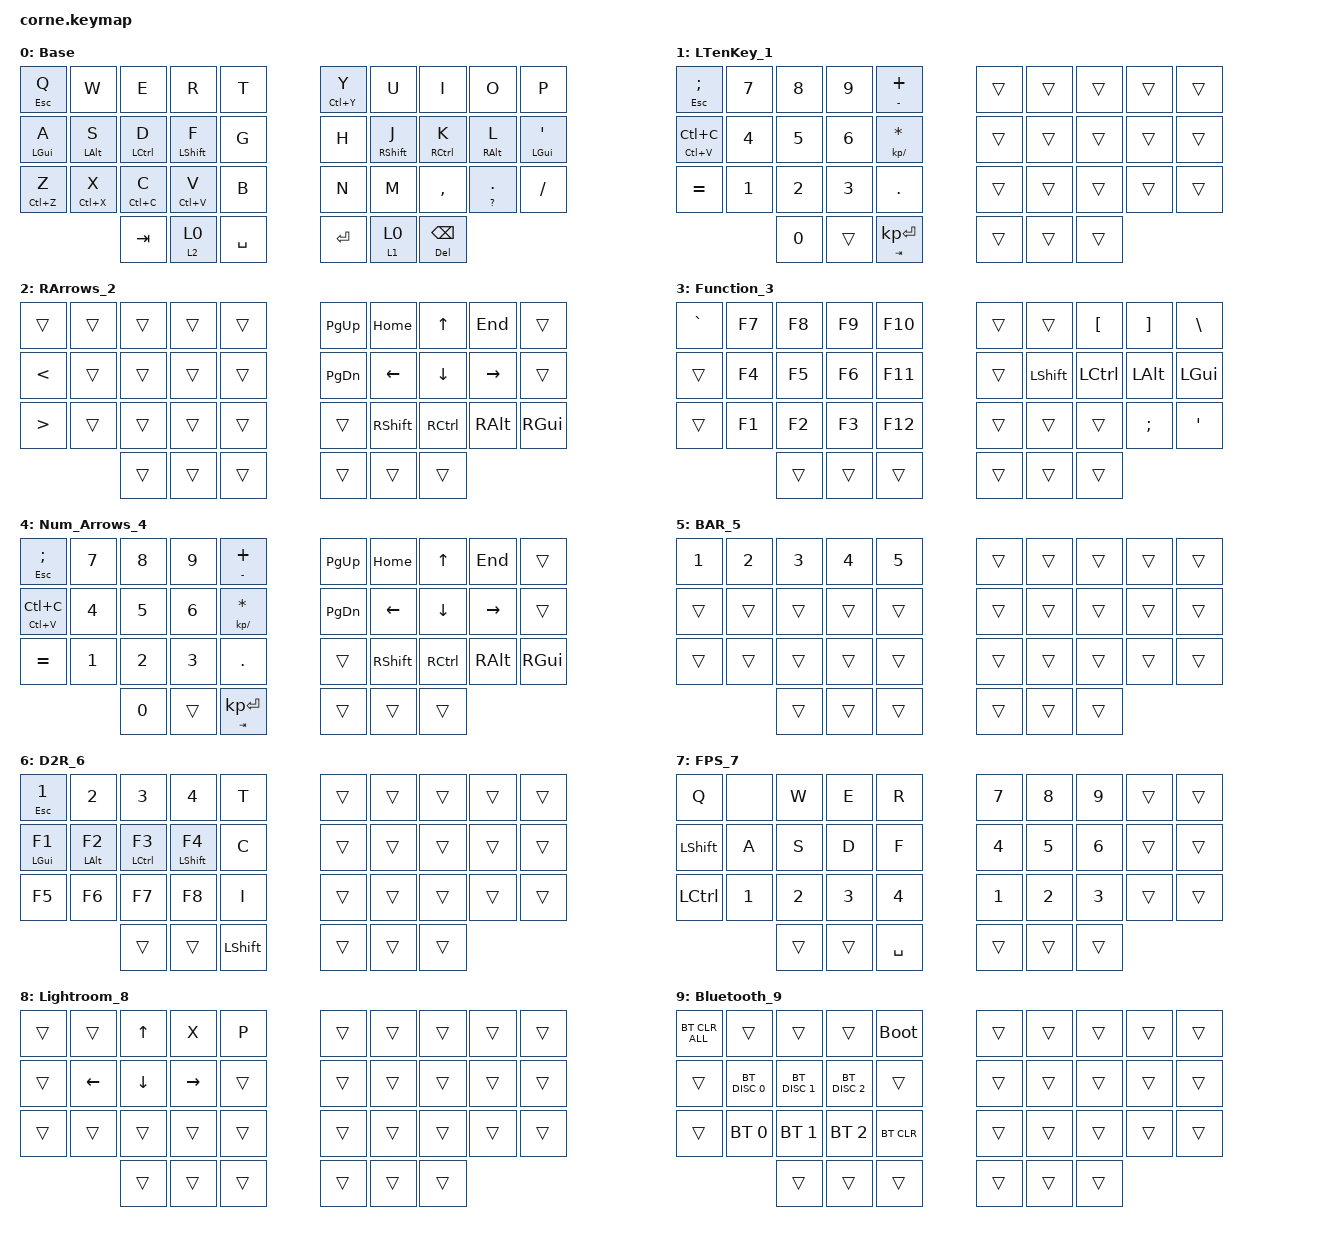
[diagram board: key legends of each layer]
/*
 * Copyright (c) 2020 The ZMK Contributors
 *
 * SPDX-License-Identifier: MIT
 */

#include <dt-bindings/zmk/mouse.h>
#include <behaviors.dtsi>
#include <dt-bindings/zmk/bt.h>
#include <dt-bindings/zmk/keys.h>
#include <dt-bindings/zmk/pointing.h>

#define AS(keycode) &as LS(keycode) keycode

/ {
    chosen { zmk,physical-layout = &foostan_corne_5col_layout; };

    behaviors {
        ht200: ht200 {
            compatible = "zmk,behavior-hold-tap";
            #binding-cells = <2>;
            tapping-term-ms = <200>;
            quick-tap-ms = <0>;
            flavor = "tap-preferred";
            bindings = <&kp>, <&kp>;

            label = "HT200";
        };

        ht400: ht400 {
            compatible = "zmk,behavior-hold-tap";
            #binding-cells = <2>;
            tapping-term-ms = <400>;
            quick-tap-ms = <0>;
            flavor = "tap-preferred";
            bindings = <&kp>, <&kp>;

            label = "HT400";
        };

        ht_layerhome: ht_layerhome {
            compatible = "zmk,behavior-hold-tap";
            #binding-cells = <2>;
            tapping-term-ms = <100>;
            quick-tap-ms = <0>;
            flavor = "tap-preferred";
            bindings = <&mo>, <&to>;

            label = "HT_LAYERHOME";
        };

        hmt400: hmt400 {
            compatible = "zmk,behavior-hold-tap";
            #binding-cells = <2>;
            tapping-term-ms = <400>;
            quick-tap-ms = <0>;
            flavor = "tap-preferred";
            bindings = <&kp>, <&mkp>;

            label = "HMT400";
        };

        ht150: ht150 {
            compatible = "zmk,behavior-hold-tap";
            #binding-cells = <2>;
            tapping-term-ms = <150>;
            quick-tap-ms = <0>;
            flavor = "tap-preferred";
            bindings = <&kp>, <&kp>;

            label = "HT150";
        };
    };

    combos {
        compatible = "zmk,combos";

        Layer1 {
            bindings = <&tog 1>;
            key-positions = <31 21>;
            timeout-ms = <50>;
        };

        Layer2 {
            bindings = <&tog 2>;
            key-positions = <31 22>;
            timeout-ms = <50>;
        };

        Layer3 {
            bindings = <&tog 3>;
            key-positions = <31 23>;
            timeout-ms = <50>;
        };

        Layer4 {
            bindings = <&tog 4>;
            key-positions = <31 11>;
            timeout-ms = <50>;
        };

        Layer5 {
            bindings = <&tog 5>;
            key-positions = <31 12>;
            timeout-ms = <50>;
        };

        Layer6 {
            bindings = <&tog 6>;
            key-positions = <31 13>;
            timeout-ms = <50>;
        };

        Layer7 {
            bindings = <&tog 7>;
            key-positions = <31 1>;
            timeout-ms = <50>;
        };

        Layer8 {
            bindings = <&tog 8>;
            key-positions = <31 2>;
            timeout-ms = <50>;
        };

        Layer9 {
            bindings = <&tog 9>;
            key-positions = <31 3>;
            timeout-ms = <50>;
        };

        LeftClick {
            bindings = <&mkp LCLK>;
            key-positions = <13 12>;
        };

        RightClick {
            bindings = <&mkp RCLK>;
            key-positions = <11 12>;
        };

        MiddleClick {
            bindings = <&mkp MCLK>;
            key-positions = <11 13>;
        };

        ScrollUp {
            bindings = <&mkp MB5>;
            key-positions = <2 13>;
        };

        ScrollDown {
            bindings = <&Ctrl_LeftMouseClick>;
            key-positions = <13 22>;
        };

        CapsLck {
            bindings = <&kp CAPSLOCK>;
            key-positions = <16 13>;
        };

        AltTab {
            bindings = <&kp LA(TAB)>;
            key-positions = <11 12 13>;
        };

        TabCombo {
            bindings = <&kp TAB>;
            key-positions = <13 32>;
        };

        Layer_0 {
            bindings = <&none>;
            key-positions = <31 30>;
        };
    };

    macros {
        Ctrl_LeftMouseClick: Ctrl_LeftMouseClick {
            compatible = "zmk,behavior-macro";
            #binding-cells = <0>;
            bindings =
                <&macro_press>,
                <&kp LCTRL>,
                <&macro_tap>,
                <&mkp LCLK>,
                <&macro_release>,
                <&kp LCTRL>;

            label = "CTRL_LEFTMOUSECLICK";
        };
    };

    keymap {
        compatible = "zmk,keymap";

        Base {
            display-name = "Base";
            bindings = <
  &ht400 ESCAPE Q  &kp W              &kp E           &kp R              &kp T        &ht400 LC(Y) Y  &kp U              &kp I                    &kp O                   &kp P
  &ht400 LGUI A    &ht200 LEFT_ALT S  &ht200 LCTRL D  &ht150 LSHIFT F    &kp G        &kp H           &ht150 RSHIFT J    &ht200 RCTRL K           &ht200 RIGHT_ALT L      &ht400 LGUI SQT
  &ht400 LC(Z) Z   &ht400 LC(X) X     &ht400 LC(C) C  &ht400 LC(V) V     &kp B        &kp N           &kp M              &kp COMMA                &ht200 QUESTION PERIOD  &kp SLASH
                                      &kp TAB         &ht_layerhome 2 0  &kp SPACE    &kp RET         &ht_layerhome 1 0  &ht200 DELETE BACKSPACE
            >;
        };

        LTenKey_1 {
            bindings = <
  &ht400 ESCAPE SEMI  &kp N7  &kp N8  &kp N9  &ht200 MINUS PLUS        &trans  &trans  &trans  &trans  &trans
  &ht200 LC(V) LC(C)  &kp N4  &kp N5  &kp N6  &ht200 KP_DIVIDE STAR    &trans  &trans  &trans  &trans  &trans
  &kp EQUAL           &kp N1  &kp N2  &kp N3  &kp PERIOD               &trans  &trans  &trans  &trans  &trans
                              &kp N0  &trans  &ht400 TAB KP_ENTER      &trans  &trans  &trans
            >;

            label = "LTenKey_1";
        };

        RArrows_2 {
            label = "RArrows_2";
            bindings = <
  &trans            &trans  &trans  &trans  &trans    &kp PAGE_UP    &kp HOME         &kp UP_ARROW       &kp END    &trans
  &kp LESS_THAN     &trans  &trans  &trans  &trans    &kp PAGE_DOWN  &kp LEFT         &kp DOWN           &kp RIGHT  &trans
  &kp GREATER_THAN  &trans  &trans  &trans  &trans    &trans         &kp RIGHT_SHIFT  &kp RIGHT_CONTROL  &kp RALT   &kp RGUI
                            &trans  &trans  &trans    &trans         &trans           &trans
            >;
        };

        Function_3 {
            bindings = <
  &kp GRAVE  &kp F7  &kp F8  &kp F9  &kp F10    &trans  &trans     &kp LEFT_BRACKET  &kp RIGHT_BRACKET  &kp BACKSLASH
  &trans     &kp F4  &kp F5  &kp F6  &kp F11    &trans  &kp LSHFT  &kp LCTRL         &kp LALT           &kp LGUI
  &trans     &kp F1  &kp F2  &kp F3  &kp F12    &trans  &trans     &trans            &kp SEMI           &kp APOSTROPHE
                     &trans  &trans  &trans     &trans  &trans     &trans
            >;

            label = "Function_3";
        };

        Num_Arrows_4 {
            bindings = <
  &ht400 ESCAPE SEMI  &kp N7  &kp N8  &kp N9  &ht200 MINUS PLUS        &kp PAGE_UP    &kp HOME         &kp UP_ARROW       &kp END    &trans
  &ht200 LC(V) LC(C)  &kp N4  &kp N5  &kp N6  &ht200 KP_DIVIDE STAR    &kp PAGE_DOWN  &kp LEFT         &kp DOWN           &kp RIGHT  &trans
  &kp EQUAL           &kp N1  &kp N2  &kp N3  &kp PERIOD               &trans         &kp RIGHT_SHIFT  &kp RIGHT_CONTROL  &kp RALT   &kp RGUI
                              &kp N0  &trans  &ht400 TAB KP_ENTER      &trans         &trans           &trans
            >;

            label = "Num_Arrows_4";
        };

        BAR_5 {
            bindings = <
  &kp N1  &kp N2  &kp N3  &kp N4  &kp N5    &trans  &trans  &trans  &trans  &trans
  &trans  &trans  &trans  &trans  &trans    &trans  &trans  &trans  &trans  &trans
  &trans  &trans  &trans  &trans  &trans    &trans  &trans  &trans  &trans  &trans
                  &trans  &trans  &trans    &trans  &trans  &trans
            >;

            label = "BAR_5";
        };

        D2R_6 {
            bindings = <
  &ht400 ESCAPE NUMBER_1  &kp N2              &kp N3           &kp N4                &kp T        &trans  &trans  &trans  &trans  &trans
  &ht400 LEFT_GUI F1      &ht200 LEFT_ALT F2  &ht200 LCTRL F3  &ht400 LEFT_SHIFT F4  &kp C        &trans  &trans  &trans  &trans  &trans
  &kp F5                  &kp F6              &kp F7           &kp F8                &kp I        &trans  &trans  &trans  &trans  &trans
                                              &trans           &trans                &kp LSHFT    &trans  &trans  &trans
            >;

            label = "D2R_6";
        };

        FPS_7 {
            bindings = <
  &kp Q           &none   &kp W   &kp E   &kp R        &kp N7  &kp N8  &kp N9  &trans  &trans
  &kp LEFT_SHIFT  &kp A   &kp S   &kp D   &kp F        &kp N4  &kp N5  &kp N6  &trans  &trans
  &kp LCTRL       &kp N1  &kp N2  &kp N3  &kp N4       &kp N1  &kp N2  &kp N3  &trans  &trans
                          &trans  &trans  &kp SPACE    &trans  &trans  &trans
            >;

            label = "FPS_7";
        };

        Lightroom_8 {
            bindings = <
  &trans  &trans    &kp UP    &kp X      &kp P     &trans  &trans  &trans  &trans  &trans
  &trans  &kp LEFT  &kp DOWN  &kp RIGHT  &trans    &trans  &trans  &trans  &trans  &trans
  &trans  &trans    &trans    &trans     &trans    &trans  &trans  &trans  &trans  &trans
                    &trans    &trans     &trans    &trans  &trans  &trans
            >;

            label = "Lightroom_8";
        };

        Bluetooth_9 {
            bindings = <
  &bt BT_CLR_ALL  &trans         &trans         &trans         &bootloader    &trans  &trans  &trans  &trans  &trans
  &trans          &bt BT_DISC 0  &bt BT_DISC 1  &bt BT_DISC 2  &trans         &trans  &trans  &trans  &trans  &trans
  &trans          &bt BT_SEL 0   &bt BT_SEL 1   &bt BT_SEL 2   &bt BT_CLR     &trans  &trans  &trans  &trans  &trans
                                 &trans         &trans         &trans         &trans  &trans  &trans
            >;

            label = "Bluetooth_9";
        };
    };

    conditional_layers {
        compatible = "zmk,conditional-layers";

        FKeys {
            if-layers = <1 2>;
            then-layer = <3>;
        };
    };
};
